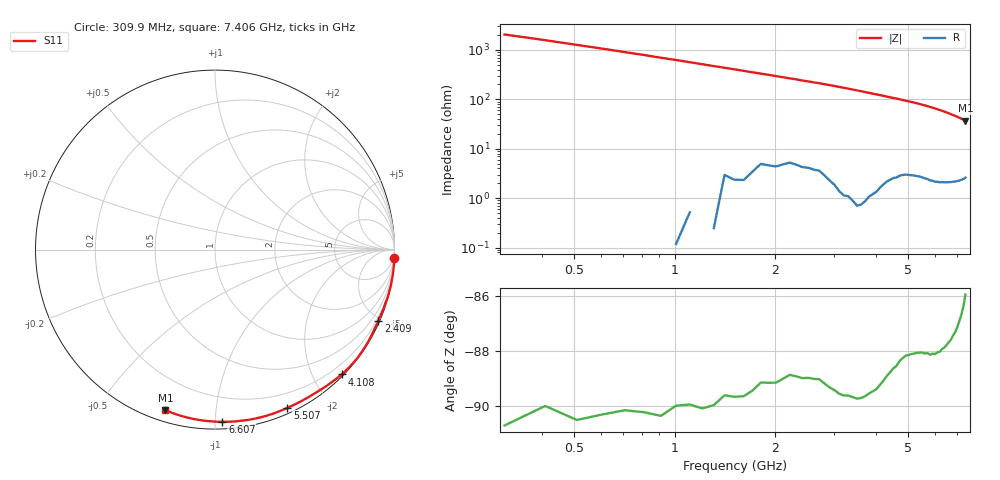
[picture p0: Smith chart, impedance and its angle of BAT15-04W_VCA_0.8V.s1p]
! Infineon Technologies  Discrete & RF Semiconductors
! BAT15-04W-E6327
! VCA = 0.8 V
! One-Port S-Parameters
# Hz  S  MA  R  50
!f  S11
!Hz  Mag  Ang
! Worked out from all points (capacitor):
!   72 points, 309.9 MHz to 7.406 GHz, reference 50 ohm
!   read as one part to ground: C = 247 fF near 309.9 MHz
!   lowest |Z| = 36.9 ohm at 7.406 GHz (marker M1)
!   S11 on the Smith chart (normalised r, x): 309.9 MHz: -1, -41; 2.409 GHz: 0.08, -4.81; 4.108 GHz: 0.03, -2.44; 5.507 GHz: 0.05, -1.55; 6.607 GHz: 0.04, -1.04; 7.406 GHz: 0.05, -0.74
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3.0985e8  1.001 -2.8
9.0955e8  1.001 -8.2
1.2094e9  1 -11.1
1.6092e9  0.9984 -15.1
2.10895e9  0.994 -20.3
2.30885e9  0.9929 -22.3
2.4088e9  0.993 -23.5
2.70865e9  0.9925 -26.6
3.0085e9  0.995 -30.1
3.2084e9  0.9964 -32.6
3.50825e9  0.9972 -36.5
3.90805e9  0.9939 -41.9
4.10795e9  0.9908 -44.6
4.6077e9  0.9803 -51.6
4.8076e9  0.9757 -54.5
5.2074e9  0.9714 -60.5
5.4073e9  0.9701 -63.7
5.50725e9  0.9697 -65.5
5.6072e9  0.9699 -67.1
5.70715e9  0.9692 -68.9
6.007e9  0.9688 -74.7
6.2069e9  0.9669 -78.8
6.4068e9  0.9639 -83.1
6.6067e9  0.9604 -87.6
6.8066e9  0.9563 -92.2
7.0065e9  0.9515 -96.9
7.2064e9  0.9449 -102.0
7.4063e9  0.9347 -107.2
